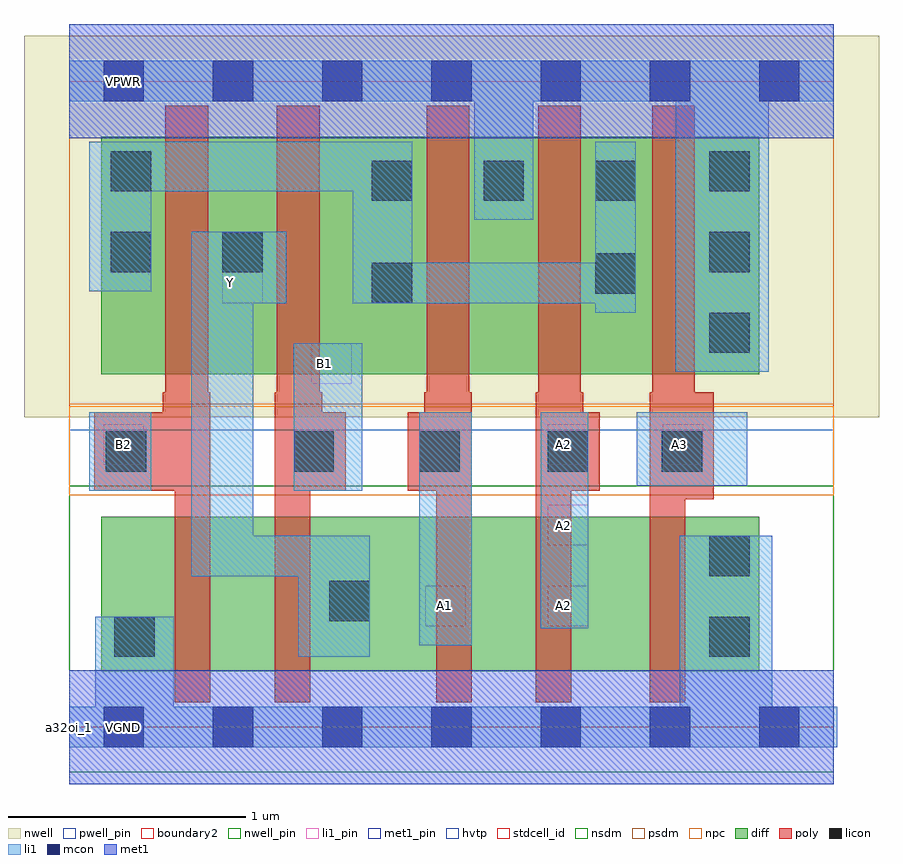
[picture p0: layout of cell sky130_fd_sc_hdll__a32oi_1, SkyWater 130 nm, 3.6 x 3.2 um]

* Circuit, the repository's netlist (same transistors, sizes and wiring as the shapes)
* Copyright 2020 The SkyWater PDK Authors
*
* Licensed under the Apache License, Version 2.0 (the "License");
* you may not use this file except in compliance with the License.
* You may obtain a copy of the License at
*
*     https://www.apache.org/licenses/LICENSE-2.0
*
* Unless required by applicable law or agreed to in writing, software
* distributed under the License is distributed on an "AS IS" BASIS,
* WITHOUT WARRANTIES OR CONDITIONS OF ANY KIND, either express or implied.
* See the License for the specific language governing permissions and
* limitations under the License.
*
* SPDX-License-Identifier: Apache-2.0

.SUBCKT sky130_fd_sc_hdll__a32oi_1 A1 A2 A3 B1 B2 VGND VNB VPB VPWR Y
*.PININFO A1:I A2:I A3:I B1:I B2:I VGND:I VNB:I VPB:I VPWR:I Y:O
MMPA0 pndA A1 VPWR VPB sky130_fd_pr__pfet_01v8_hvt m=1 w=1.0U l=0.18U mult=1 sa=0.265
+ sb=0.265 sd=0.28 area=0.063 perim=1.14
MMPA1 pndA A2 VPWR VPB sky130_fd_pr__pfet_01v8_hvt m=1 w=1.0U l=0.18U mult=1 sa=0.265
+ sb=0.265 sd=0.28 area=0.063 perim=1.14
MMPA2 pndA A3 VPWR VPB sky130_fd_pr__pfet_01v8_hvt m=1 w=1.0U l=0.18U mult=1 sa=0.265
+ sb=0.265 sd=0.28 area=0.063 perim=1.14
MMPB0 Y B1 pndA VPB sky130_fd_pr__pfet_01v8_hvt m=1 w=1.0U l=0.18U mult=1 sa=0.265
+ sb=0.265 sd=0.28 area=0.063 perim=1.14
MMPB1 Y B2 pndA VPB sky130_fd_pr__pfet_01v8_hvt m=1 w=1.0U l=0.18U mult=1 sa=0.265
+ sb=0.265 sd=0.28 area=0.063 perim=1.14
MMNA0 Y A1 sndA1 VNB sky130_fd_pr__nfet_01v8 m=1 w=0.65U l=0.15U mult=1 sa=0.265
+ sb=0.265 sd=0.28 area=0.063 perim=1.14
MMNA1 sndA1 A2 sndA2 VNB sky130_fd_pr__nfet_01v8 m=1 w=0.65U l=0.15U mult=1 sa=0.265
+ sb=0.265 sd=0.28 area=0.063 perim=1.14
MMNA2 sndA2 A3 VGND VNB sky130_fd_pr__nfet_01v8 m=1 w=0.65U l=0.15U mult=1 sa=0.265
+ sb=0.265 sd=0.28 area=0.063 perim=1.14
MMNB0 Y B1 sndB1 VNB sky130_fd_pr__nfet_01v8 m=1 w=0.65U l=0.15U mult=1 sa=0.265
+ sb=0.265 sd=0.28 area=0.063 perim=1.14
MMNB1 sndB1 B2 VGND VNB sky130_fd_pr__nfet_01v8 m=1 w=0.65U l=0.15U mult=1 sa=0.265
+ sb=0.265 sd=0.28 area=0.063 perim=1.14
.ENDS sky130_fd_sc_hdll__a32oi_1

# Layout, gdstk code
import gdstk
lib = gdstk.Library(unit=1e-6, precision=1e-09)
def R(c, l, rs):  # rectangles x0, y0, x1, y1
    for r in rs: c.add(gdstk.rectangle(r[:2], r[2:], *l))
def A(c, l, x, y, w, h, nx, ny, dx, dy):  # array of equal rectangles
    R(c, l, [(x+i*dx, y+j*dy, x+i*dx+w, y+j*dy+h) for i in range(nx) for j in range(ny)])
def P(c, l, *ps):  # polygons
    for p in ps: c.add(gdstk.Polygon(p, *l))
nwell_pin = (64, 16)
nwell = (64, 20)
diff = (65, 20)
poly = (66, 20)
licon = (66, 44)
li1_pin = (67, 16)
li1 = (67, 20)
mcon = (67, 44)
met1_pin = (68, 16)
met1 = (68, 20)
hvtp = (78, 44)
stdcell_id = (81, 4)
nsdm = (93, 44)
psdm = (94, 20)
npc = (95, 20)
pwell_pin = (122, 16)
boundary2 = (236, 0)

sky130_fd_sc_hdll__a32oi = lib.new_cell('sky130_fd_sc_hdll__a32oi_1')
R(sky130_fd_sc_hdll__a32oi, nwell_pin, [(0.145,2.635,0.315,2.805)])
R(sky130_fd_sc_hdll__a32oi, nwell, [(-0.19,1.305,3.41,2.91)])
R(sky130_fd_sc_hdll__a32oi, diff, [(0.135,0.235,2.905,0.885), (0.135,1.485,2.905,2.485)])
P(sky130_fd_sc_hdll__a32oi, poly, [(0.595,1.41),(0.585,1.41),(0.585,2.615),(0.405,2.615),(0.405,1.41),(0.395,1.41),(0.395,1.325),(0.105,1.325),(0.105,0.995),(0.445,0.995),(0.445,0.105),(0.595,0.105)],
  [(1.165,1.325),(1.065,1.325),(1.065,1.41),(1.055,1.41),(1.055,2.615),(0.875,2.615),(0.875,1.41),(0.865,1.41),(0.865,0.105),(1.015,0.105),(1.015,0.995),(1.165,0.995)],
  [(1.695,1.41),(1.685,1.41),(1.685,2.615),(1.505,2.615),(1.505,1.41),(1.495,1.41),(1.495,1.325),(1.425,1.325),(1.425,0.995),(1.545,0.995),(1.545,0.105),(1.695,0.105)],
  [(2.235,1.325),(2.165,1.325),(2.165,1.41),(2.155,1.41),(2.155,2.615),(1.975,2.615),(1.975,1.41),(1.965,1.41),(1.965,0.105),(2.115,0.105),(2.115,0.995),(2.235,0.995)],
  [(2.715,1.41),(2.635,1.41),(2.635,2.615),(2.455,2.615),(2.455,1.41),(2.445,1.41),(2.445,0.105),(2.595,0.105),(2.595,0.96),(2.715,0.96)])
A(sky130_fd_sc_hdll__a32oi, licon, 2.695, 1.575, 0.17, 0.17, 1, 3, 0, 0.34)
A(sky130_fd_sc_hdll__a32oi, licon, 1.275, 2.215, 0.17, 0.17, 3, 1, 0.47, 0)
R(sky130_fd_sc_hdll__a32oi, licon, [(0.19,0.295,0.36,0.465), (2.695,0.295,2.865,0.465), (1.095,0.445,1.265,0.615), (2.695,0.635,2.865,0.805), (0.155,1.075,0.325,1.245), (0.945,1.075,1.115,1.245), (1.475,1.075,1.645,1.245), (2.015,1.075,2.185,1.245), (2.495,1.075,2.665,1.245), (1.275,1.785,1.445,1.955), (2.215,1.825,2.385,1.995), (0.175,1.915,0.345,2.085), (0.645,1.915,0.815,2.085), (0.175,2.255,0.345,2.425)])
A(sky130_fd_sc_hdll__a32oi, li1_pin, 2.015, 0.425, 0.17, 0.17, 1, 3, 0, 0.34)
R(sky130_fd_sc_hdll__a32oi, li1_pin, [(1.5,0.425,1.67,0.595), (0.145,1.105,0.315,1.275), (2.5,1.105,2.67,1.275), (1.02,1.445,1.19,1.615), (0.645,1.785,0.815,1.955)])
R(sky130_fd_sc_hdll__a32oi, li1, [(1.475,0.345,1.695,1.325), (1.985,0.415,2.185,1.325), (0.085,0.995,0.345,1.325), (0.945,0.995,1.235,1.615), (2.39,1.015,2.855,1.325)])
P(sky130_fd_sc_hdll__a32oi, li1, [(1.265,0.805),(0.775,0.805),(0.775,1.785),(0.915,1.785),(0.915,2.085),(0.515,2.085),(0.515,0.635),(0.965,0.635),(0.965,0.295),(1.265,0.295)],
  [(3.235,0.085),(2.96,0.085),(2.96,0.805),(2.57,0.805),(2.57,0.085),(0.44,0.085),(0.44,0.465),(0.11,0.465),(0.11,0.085),(0,0.085),(0,-0.085),(3.235,-0.085)],
  [(3.22,2.805),(0,2.805),(0,2.635),(1.705,2.635),(1.705,2.135),(1.955,2.135),(1.955,2.635),(2.555,2.635),(2.555,1.495),(2.945,1.495),(2.945,2.635),(3.22,2.635)],
  [(2.385,2.465),(2.215,2.465),(2.215,1.955),(1.445,1.955),(1.445,2.465),(0.085,2.465),(0.085,1.835),(0.345,1.835),(0.345,2.255),(1.195,2.255),(1.195,1.785),(2.215,1.785),(2.215,1.745),(2.385,1.745)])
A(sky130_fd_sc_hdll__a32oi, mcon, 0.145, -0.085, 0.17, 0.17, 7, 2, 0.46, 2.72)
R(sky130_fd_sc_hdll__a32oi, met1_pin, [(0.145,-0.085,0.315,0.085), (0.145,2.635,0.315,2.805)])
R(sky130_fd_sc_hdll__a32oi, met1, [(0,-0.24,3.22,0.24), (0,2.48,3.22,2.96)])
R(sky130_fd_sc_hdll__a32oi, hvtp, [(0,1.25,3.22,2.72)])
R(sky130_fd_sc_hdll__a32oi, stdcell_id, [(0,0,3.22,2.72)])
R(sky130_fd_sc_hdll__a32oi, nsdm, [(0,-0.19,3.22,1.015)])
R(sky130_fd_sc_hdll__a32oi, psdm, [(0,1.36,3.22,2.91)])
R(sky130_fd_sc_hdll__a32oi, npc, [(0,0.975,3.22,1.35)])
R(sky130_fd_sc_hdll__a32oi, pwell_pin, [(0.145,-0.085,0.315,0.085)])
R(sky130_fd_sc_hdll__a32oi, boundary2, [(0,0,3.22,2.72)])
sky130_fd_sc_hdll__a32oi.add(gdstk.Label('A2', (2.08,0.51), layer=67, texttype=5))
sky130_fd_sc_hdll__a32oi.add(gdstk.Label('Y', (0.68,1.87), layer=67, texttype=5))
sky130_fd_sc_hdll__a32oi.add(gdstk.Label('A1', (1.58,0.51), layer=67, texttype=5))
sky130_fd_sc_hdll__a32oi.add(gdstk.Label('B2', (0.23,1.19), layer=67, texttype=5))
sky130_fd_sc_hdll__a32oi.add(gdstk.Label('B1', (1.075,1.53), layer=67, texttype=5))
sky130_fd_sc_hdll__a32oi.add(gdstk.Label('A2', (2.08,0.85), layer=67, texttype=5))
sky130_fd_sc_hdll__a32oi.add(gdstk.Label('A2', (2.08,1.19), layer=67, texttype=5))
sky130_fd_sc_hdll__a32oi.add(gdstk.Label('A3', (2.57,1.19), layer=67, texttype=5))
sky130_fd_sc_hdll__a32oi.add(gdstk.Label('VGND', (0.23,0), layer=68, texttype=5))
sky130_fd_sc_hdll__a32oi.add(gdstk.Label('VPWR', (0.23,2.72), layer=68, texttype=5))
sky130_fd_sc_hdll__a32oi.add(gdstk.Label('VPB', (0.23,2.72), layer=64, texttype=5))
sky130_fd_sc_hdll__a32oi.add(gdstk.Label('VNB', (0.23,0), layer=64, texttype=59))
sky130_fd_sc_hdll__a32oi.add(gdstk.Label('a32oi_1', (0,0), layer=83, texttype=44))

lib.write_gds('sky130_fd_sc_hdll__a32oi_1.gds')
